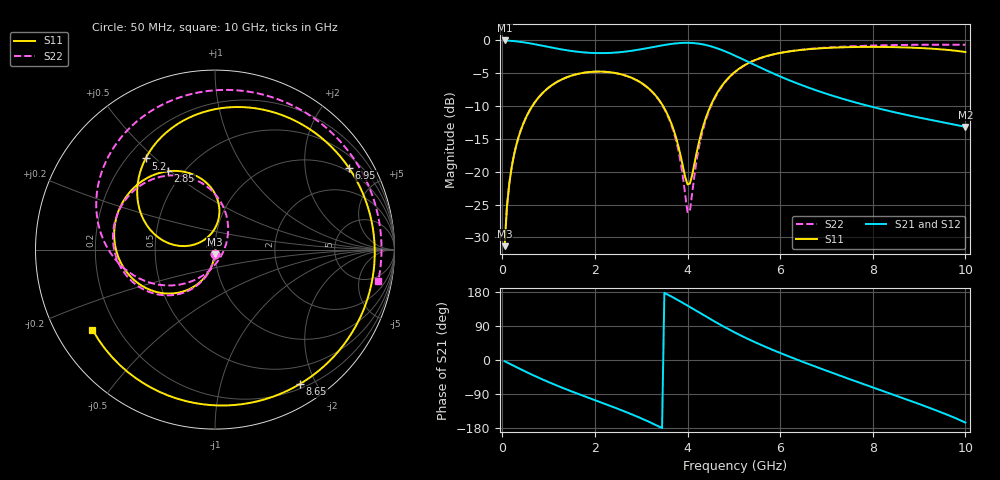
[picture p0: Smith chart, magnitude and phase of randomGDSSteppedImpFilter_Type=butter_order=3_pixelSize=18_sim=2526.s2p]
! freq	dB(S11)	phase(S11)	dB(S12)	phase(S12)
!  dB(S21)	phase(S21)	dB(S22)	phase(S22)
!S-par simulation data
#  GHz  S  DB  R 50
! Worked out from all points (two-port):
!   200 points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, 50 MHz to 10 GHz, reference 50 ohm
!   highest |S21| = -0.01 dB at 50 MHz (marker M1); lowest = -13.2 dB at 10 GHz (marker M2)
!   |S21| within 3 dB of the highest: start of sweep to 5.234 GHz
!   lowest |S11| = -31.3 dB at 50 MHz (marker M3), VSWR 1.06, Z = 49.8 - j2.7 ohm
!   |S11| at or under -10 dB: start of sweep to 647.6 MHz; 3.472 GHz to 4.496 GHz (1.024 GHz wide, 25.7 % of centre)
!   |S22| runs from -31.3 to -0.6 dB; largest |S21 - S12| = 0
!   S11 on the Smith chart (normalised r, x): 50 MHz: 1.00, -0.05; 2.85 GHz: 0.42, +0.49; 5.2 GHz: 0.27, +0.47; 6.95 GHz: 0.87, +3.36; 8.65 GHz: 0.26, -1.79; 10 GHz: 0.11, -0.29
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0.05  -31.32 -93.4  -0.01 -3.1  -0.01 -3.1  -31.32 -93.2
0.1  -25.33 -96.7  -0.02 -6.3  -0.02 -6.3  -25.33 -96.4
0.2  -19.40 -103.2  -0.07 -12.5  -0.07 -12.5  -19.40 -102.6
0.5  -11.92 -121.8  -0.33 -30.6  -0.33 -30.6  -11.92 -120.4
1.05  -6.92 -152.9  -1.07 -60.9  -1.07 -60.9  -6.92 -149.9
1.75  -4.93 172.5  -1.82 -94.6  -1.82 -94.6  -4.93 177.4
2.85  -5.87 120.8  -1.52 -146.1  -1.52 -146.1  -5.89 127.1
3.4  -9.21 93.8  -0.82 -176.6  -0.82 -176.6  -9.28 95.5
3.75  -14.74 83.1  -0.45 161.0  -0.45 161.0  -15.17 66.4
4.05  -21.81 139.5  -0.37 140.0  -0.37 140.0  -26.08 -47.7
4.2  -16.98 171.0  -0.45 129.2  -0.45 129.2  -18.09 -106.3
4.4  -11.72 172.3  -0.70 114.7  -0.70 114.7  -12.04 -131.2
5.05  -4.64 136.3  -2.40 70.8  -2.40 70.8  -4.69 -178.3
5.2  -3.90 127.3  -2.89 61.7  -2.89 61.7  -3.94 173.1
5.95  -1.98 84.4  -5.34 21.1  -5.34 21.1  -1.97 136.3
6.7  -1.29 44.4  -7.41 -14.6  -7.41 -14.6  -1.25 105.9
6.95  -1.17 31.3  -8.01 -26.0  -8.01 -26.0  -1.11 96.4
7.65  -1.00 -5.0  -9.49 -57.1  -9.49 -57.1  -0.86 70.8
8.35  -1.01 -41.6  -10.74 -87.5  -10.74 -87.5  -0.73 45.8
8.65  -1.05 -57.6  -11.22 -100.6  -11.22 -100.6  -0.69 35.3
9.4  -1.32 -101.3  -12.30 -134.4  -12.30 -134.4  -0.65 9.3
10  -1.77 -146.8  -13.16 -165.2  -13.16 -165.2  -0.66 -10.8
